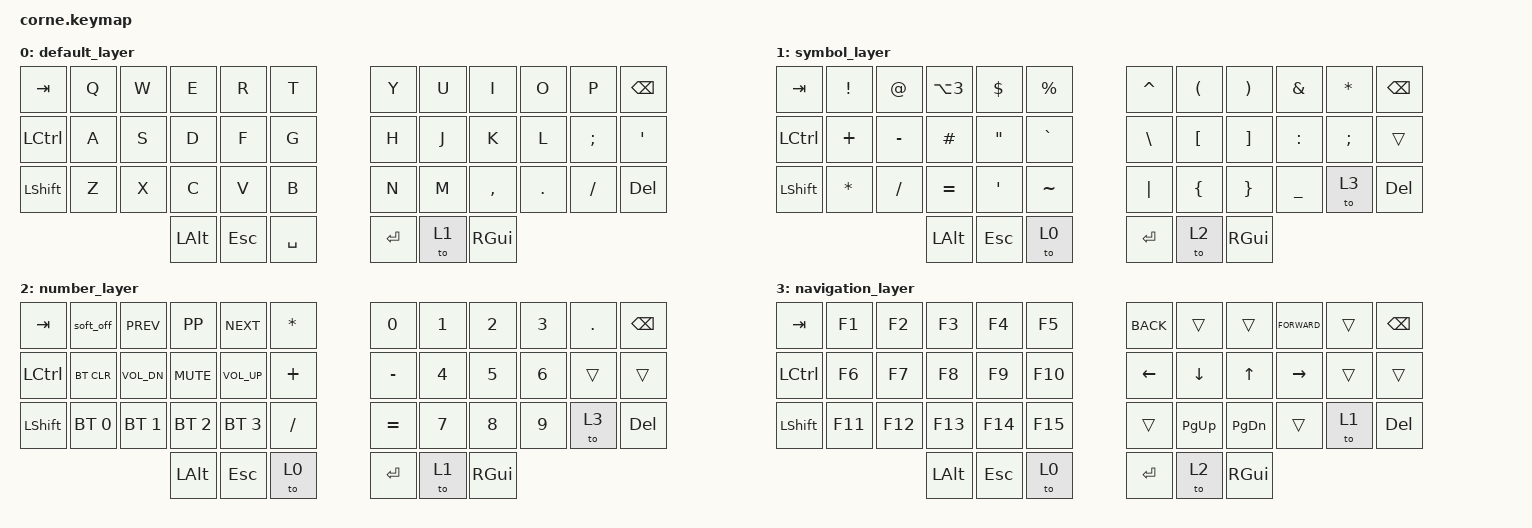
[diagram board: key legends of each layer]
/*
 * Copyright (c) 2020 The ZMK Contributors
 *
 * SPDX-License-Identifier: MIT
 */

#include <behaviors.dtsi>
#include <dt-bindings/zmk/keys.h>
#include <dt-bindings/zmk/bt.h>

/ {
        keymap {
                compatible = "zmk,keymap";

                default_layer {
// -----------------------------------------------------------------------------------------
// |  TAB |  Q  |  W  |  E  |  R  |  T  |   |  Y  |  U   |  I  |  O  |  P  | BKSP |
// | CTRL |  A  |  S  |  D  |  F  |  G  |   |  H  |  J   |  K  |  L  |  ;  |  '   |
// | SHFT |  Z  |  X  |  C  |  V  |  B  |   |  N  |  M   |  ,  |  .  |  /  | DEL  |
//                    | ALT | ESC | SPC |   | ENT | symb | GUI |
                        bindings = <
   &kp TAB   &kp Q &kp W &kp E &kp R &kp T   &kp Y &kp U  &kp I     &kp O   &kp P    &kp BSPC
   &kp LCTRL &kp A &kp S &kp D &kp F &kp G   &kp H &kp J  &kp K     &kp L   &kp SEMI &kp SQT
   &kp LSHFT &kp Z &kp X &kp C &kp V &kp B   &kp N &kp M  &kp COMMA &kp DOT &kp FSLH &kp DEL
                  &kp LALT &kp ESC &kp SPACE   &kp RET &to 1 &kp RGUI
                        >;
                };
                symbol_layer {
// -----------------------------------------------------------------------------------------
// |  TAB |  !  |  @  |  #  |  $  |  %  |   |  ^  |  (  |  )  |  &  |  *  | BKSP |
// | CTRL |  +  |  -  |  £  |  "  |  `  |   |  \  |  [  |  ]  |  :  |  ;  |      |
// | SHFT |  *  |  /  |  =  |  '  |  ~  |   | "|" |  {  |  }  |  _  | nav | DEL  |
//                    | ALT | ESC | base|   | ENT | num | GUI |
                        bindings = <
   &kp TAB   &kp EXCL &kp AT &kp LA(N3) &kp DLLR &kp PRCNT   &kp CARET &kp LPAR  &kp RPAR     &kp AMPS   &kp ASTRK    &kp BSPC
   &kp LCTRL &kp PLUS &kp MINUS &kp HASH &kp DQT &kp GRAVE   &kp BSLH &kp LBKT  &kp RBKT     &kp COLON   &kp SEMI &trans
   &kp LSHFT &kp ASTRK &kp FSLH &kp EQUAL &kp SQT &kp TILDE   &kp PIPE &kp LBRC  &kp RBRC &kp UNDER &to 3 &kp DEL
                  &kp LALT &kp ESC &to 0   &kp RET &to 2 &kp RGUI
                        >;
                };
                number_layer {
// -----------------------------------------------------------------------------------------
// |  TAB | OFF | PRV | PSE | NXT |  *  |   |  0  |  1  |  2  |  3  |  .  | BKSP |
// | CTRL |CLRBT|  V- | MTE |  V+ |  +  |   |  -  |  4  |  5  |  6  |     |      |
// | SHFT | BT1 | BT2 | BT3 | BT4 |  /  |   |  =  |  7  |  8  |  9  | nav |  DEL |
//                    | ALT | ESC | base|   | ENT | symb| GUI |
                        bindings = <
   &kp TAB &soft_off &kp K_PREV &kp K_PP &kp K_NEXT &kp ASTRK &kp N0 &kp N1 &kp N2 &kp N3 &kp DOT &kp BSPC
   &kp LCTRL &bt BT_CLR &kp K_VOL_DN &kp K_MUTE &kp K_VOL_UP &kp PLUS &kp MINUS &kp N4 &kp N5 &kp N6 &trans &trans
   &kp LSHFT &bt BT_SEL 0 &bt BT_SEL 1 &bt BT_SEL 2 &bt BT_SEL 3 &kp FSLH &kp EQUAL &kp N7 &kp N8 &kp N9 &to 3 &kp DEL
                  &kp LALT &kp ESC &to 0    &kp RET &to 1 &kp RGUI
                        >;
                };
                navigation_layer {
// -----------------------------------------------------------------------------------------
// |  TAB |  F1 |  F2 |  F3 |  F4 |  F5 |   | BCK | <TB | TB> | FWD |     | BKSP |
// | CTRL |  F6 |  F7 |  F8 |  F9 | F10 |   | LFT | DWN |  UP | RGT |     |      |
// | SHFT | F11 | F12 | F13 | F14 | F15 |   |     | PGU | PGD |     | symb| DEL  |
//                    | ALT | ESC | base|   | ENT | num | GUI |
                        bindings = <
   &kp TAB &kp F1 &kp F2 &kp F3 &kp F4 &kp F5 &kp K_BACK &trans &trans &kp K_FORWARD &trans &kp BSPC
   &kp LCTRL &kp F6 &kp F7 &kp F8 &kp F9 &kp F10 &kp LEFT &kp DOWN &kp UP &kp RIGHT &trans &trans
   &kp LSHFT &kp F11 &kp F12 &kp F13 &kp F14 &kp F15 &trans &kp PG_UP &kp PG_DN &trans &to 1 &kp DEL
                  &kp LALT &kp ESC &to 0    &kp RET &to 2 &kp RGUI
                        >;
                };
        };
};
